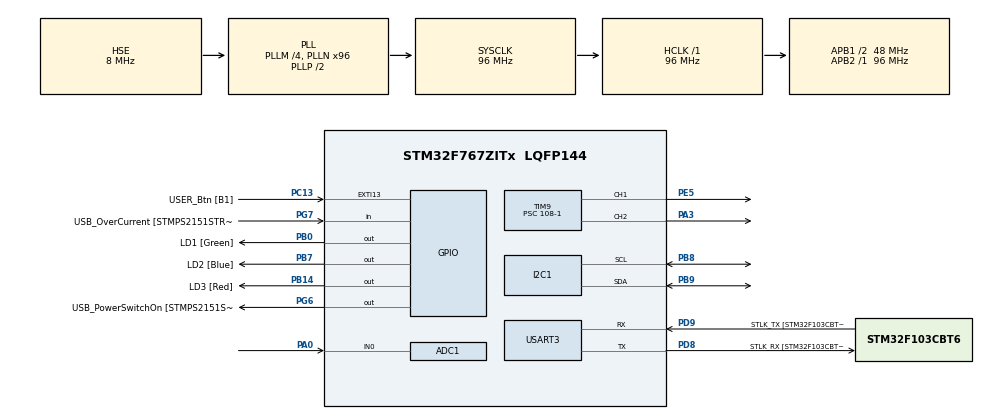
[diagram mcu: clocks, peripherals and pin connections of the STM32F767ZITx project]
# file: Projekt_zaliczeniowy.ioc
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ADC1.Channel-0\#ChannelRegularConversion=ADC_CHANNEL_0
ADC1.NbrOfConversionFlag=1
ADC1.Rank-0\#ChannelRegularConversion=1
ADC1.SamplingTime-0\#ChannelRegularConversion=ADC_SAMPLETIME_3CYCLES
ADC1.master=1
ARM.CMSIS.5.7.0.CMSISJjCORE=true
ARM.CMSIS.5.7.0.CMSISJjDSP=Library
I2C1.Timing=0x20303E5D
Mcu.Family=STM32F7
Mcu.Name=STM32F767ZITx
Mcu.Package=LQFP144
NVIC.PriorityGroup=NVIC_PRIORITYGROUP_4
NVIC.TIM1_TRG_COM_TIM11_IRQn=true\:0\:0\:false\:false\:true\:true\:true\:true
NVIC.TIM7_IRQn=true\:0\:0\:false\:false\:true\:true\:true\:true
PA0/WKUP.GPIO_PuPd=GPIO_NOPULL
PA0/WKUP.Signal=ADCx_IN0
PA1.GPIO_Label=RMII_REF_CLK [LAN8742A-CZ-TR_REFCLK0]
PA1.Signal=ETH_REF_CLK
PA10.GPIO_Label=USB_ID
PA10.Signal=USB_OTG_FS_ID
PA11.GPIO_Label=USB_DM
PA11.Signal=USB_OTG_FS_DM
PA12.GPIO_Label=USB_DP
PA12.Signal=USB_OTG_FS_DP
PA13.GPIO_Label=TMS
PA13.Mode=Serial_Wire
PA13.Signal=SYS_JTMS-SWDIO
PA14.GPIO_Label=TCK
PA14.Mode=Serial_Wire
PA14.Signal=SYS_JTCK-SWCLK
PA2.GPIO_Label=RMII_MDIO [LAN8742A-CZ-TR_MDIO]
PA2.Signal=ETH_MDIO
PA3.GPIO_PuPd=GPIO_PULLDOWN
PA3.Signal=S_TIM9_CH2
PA7.GPIO_Label=RMII_CRS_DV [LAN8742A-CZ-TR_CRS_DV]
PA7.Signal=ETH_CRS_DV
PA8.GPIO_Label=USB_SOF [TP1]
PA8.Signal=USB_OTG_FS_SOF
PA9.GPIO_Label=USB_VBUS
PA9.Signal=USB_OTG_FS_VBUS
PB0.GPIO_Label=LD1 [Green]
PB0.Signal=GPIO_Output
PB13.GPIO_Label=RMII_TXD1 [LAN8742A-CZ-TR_TXD1]
PB13.Signal=ETH_TXD1
PB14.GPIO_Label=LD3 [Red]
PB14.Signal=GPIO_Output
PB3.GPIO_Label=SWO
PB3.Signal=SYS_JTDO-SWO
PB7.GPIO_Label=LD2 [Blue]
PB7.Signal=GPIO_Output
PB8.Mode=I2C
PB8.Signal=I2C1_SCL
PB9.Mode=I2C
PB9.Signal=I2C1_SDA
PC1.GPIO_Label=RMII_MDC [LAN8742A-CZ-TR_MDC]
PC1.Signal=ETH_MDC
PC13.GPIO_Label=USER_Btn [B1]
PC13.Signal=GPXTI13
PC14/OSC32_IN.Mode=LSE-External-Oscillator
PC14/OSC32_IN.Signal=RCC_OSC32_IN
PC15/OSC32_OUT.Mode=LSE-External-Oscillator
PC15/OSC32_OUT.Signal=RCC_OSC32_OUT
PC4.GPIO_Label=RMII_RXD0 [LAN8742A-CZ-TR_RXD0]
PC4.Signal=ETH_RXD0
PC5.GPIO_Label=RMII_RXD1 [LAN8742A-CZ-TR_RXD1]
PC5.Signal=ETH_RXD1
PD8.GPIO_Label=STLK_RX [STM32F103CBT6_PA3]
PD8.GPIO_PuPd=GPIO_PULLUP
PD8.Mode=Asynchronous
PD8.Signal=USART3_TX
PD9.GPIO_Label=STLK_TX [STM32F103CBT6_PA2]
PD9.GPIO_PuPd=GPIO_PULLUP
PD9.Mode=Asynchronous
PD9.Signal=USART3_RX
PE5.GPIO_PuPd=GPIO_PULLDOWN
PE5.Signal=S_TIM9_CH1
PG11.GPIO_Label=RMII_TX_EN [LAN8742A-CZ-TR_TXEN]
PG11.Signal=ETH_TX_EN
PG13.GPIO_Label=RMII_TXD0 [LAN8742A-CZ-TR_TXD0]
PG13.Signal=ETH_TXD0
PG6.GPIO_Label=USB_PowerSwitchOn [STMPS2151STR_EN]
PG6.Signal=GPIO_Output
PG7.GPIO_Label=USB_OverCurrent [STMPS2151STR_FAULT]
PG7.Signal=GPIO_Input
PH0/OSC_IN.GPIO_Label=MCO [STM32F103CBT6_PA8]
PH0/OSC_IN.Mode=HSE-External-Clock-Source
PH0/OSC_IN.Signal=RCC_OSC_IN
PH1/OSC_OUT.Mode=HSE-External-Clock-Source
PH1/OSC_OUT.Signal=RCC_OSC_OUT
ProjectManager.HeapSize=0x200
ProjectManager.StackSize=0x400
ProjectManager.TargetToolchain=STM32CubeIDE
RCC.48MHZClocksFreq_Value=24000000
RCC.AHBFreq_Value=96000000
RCC.APB1CLKDivider=RCC_HCLK_DIV2
RCC.APB1Freq_Value=48000000
RCC.APB1TimFreq_Value=96000000
RCC.APB2Freq_Value=96000000
RCC.APB2TimFreq_Value=96000000
RCC.CortexFreq_Value=96000000
RCC.HCLKFreq_Value=96000000
RCC.HSE_VALUE=8000000
RCC.HSI_VALUE=16000000
RCC.PLLM=4
RCC.PLLMUL=RCC_PLL_MUL9
RCC.PLLN=96
RCC.PLLQ=4
RCC.PLLSourceVirtual=RCC_PLLSOURCE_HSE
RCC.PRESCALERUSB=RCC_USBCLKSOURCE_PLL_DIV1_5
RCC.SYSCLKFreq_VALUE=96000000
RCC.SYSCLKSource=RCC_SYSCLKSOURCE_PLLCLK
RCC.SYSCLKSourceVirtual=RCC_SYSCLKSOURCE_PLLCLK
RCC.USBFreq_Value=48000000
RCC.VCOOutputFreq_Value=192000000
SH.ADCx_IN0.0=ADC1_IN0,IN0
SH.S_TIM9_CH1.0=TIM9_CH1,PWM Generation1 CH1
SH.S_TIM9_CH2.0=TIM9_CH2,PWM Generation2 CH2
TIM11.Period=100-1
TIM11.Prescaler=108-1
TIM7.Period=5000-1
TIM7.Prescaler=108-1
TIM9.Channel-PWM\ Generation1\ CH1=TIM_CHANNEL_1
TIM9.Channel-PWM\ Generation2\ CH2=TIM_CHANNEL_2
TIM9.Period=1000-1
TIM9.Prescaler=108-1
USART3.VirtualMode-Asynchronous=VM_ASYNC
VP_ARM.CMSIS_VS_CMSISJjCORE_5.4.0_5.7.0.Mode=CMSISJjCORE
VP_ARM.CMSIS_VS_CMSISJjDSP_1.8.0_5.7.0.Mode=CMSISJjDSP
VP_TIM11_VS_ClockSourceINT.Mode=Enable_Timer
VP_TIM7_VS_ClockSourceINT.Mode=Enable_Timer
VP_TIM9_VS_ClockSourceINT.Mode=Internal
board=NUCLEO-F767ZI

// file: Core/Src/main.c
/* USER CODE BEGIN Header */
/**
  ******************************************************************************
  * @file           : main.c
  * @brief          : Scalona wersja - Regulator Pozycyjny + Zakłócenie ADC
  ******************************************************************************
  */
/* USER CODE END Header */

#include "main.h"
#include "adc.h"
#include "i2c.h"
#include "tim.h"
#include "usart.h"
#include "gpio.h"

/* USER CODE BEGIN Includes */
#include <stdio.h>
#include <stdlib.h>
#include <string.h>
#include "led_config.h"
#include "bh1750_config.h"
#include "pid_config.h"
/* USER CODE END Includes */

/* USER CODE BEGIN PV */
// --- Zmienne regulacji (LED1 - TIM9 CH2) ---
float target_lux = 0.0f;
float current_lux = 0.0f;
float pid_pwm_out = 0.0f;     // Bezpośrednie wyjście z regulatora PID (pozycyjne)

// --- Zmienne zakłócenia (LED2 - TIM9 CH1) ---
extern ADC_HandleTypeDef hadc1;
extern LED_PWM_Handle_TypeDef hld2;
uint32_t adc_raw_val = 0;
float disturbance_pwm = 0.0f;

// --- Flagi i bufory ---
volatile uint8_t pid_trigger = 0;
char rx_buffer[32];
int rx_index = 0;
/* USER CODE END PV */

void SystemClock_Config(void);
/* USER CODE BEGIN PFP */
uint8_t Compute_CRC8(char* data, int len);
/* USER CODE END PFP */

/* USER CODE BEGIN 0 */
int _write(int file, char *ptr, int len)
{
  return (HAL_UART_Transmit(&huart3, (uint8_t*)ptr, len, HAL_MAX_DELAY) == HAL_OK) ? len : -1;
}

int _read(int file, char *ptr, int len)
{
  uint8_t ch = 0;
  if (HAL_UART_Receive(&huart3, &ch, 1, HAL_MAX_DELAY) == HAL_OK)
  {
    // Echo wyłączone dla czystości komunikacji z Matlabem
    if (ch == '\r') ch = '\n';
    *ptr = ch;
    return 1;
  }
  return -1;
}
/* USER CODE END 0 */

int main(void)
{
  /* MCU Configuration --------------------------------------------------------*/
  HAL_Init();
  SystemClock_Config();

  /* Initialize all configured peripherals */
  MX_GPIO_Init();
  MX_USART3_UART_Init();
  MX_TIM7_Init();
  MX_TIM9_Init();
  MX_TIM11_Init();
  MX_I2C1_Init();
  MX_ADC1_Init();

  /* USER CODE BEGIN 2 */
  BH1750_Init(&hbh1750A);

  LED_PWM_Init(&hld1);
  LED_PWM_WriteDuty(&hld1, 0.0f);

  LED_PWM_Init(&hld2);
  LED_PWM_WriteDuty(&hld2, 0.0f);

  PID_Config_Init();

  // Konfiguracja timera na 150ms
  __HAL_TIM_SET_PRESCALER(&htim7, 9599);
  __HAL_TIM_SET_AUTORELOAD(&htim7, 1499);
  __HAL_TIM_SET_COUNTER(&htim7, 0);
  HAL_TIM_Base_Start_IT(&htim7);

  memset(rx_buffer, 0, sizeof(rx_buffer));
  rx_index = 0;
  /* USER CODE END 2 */

  /* USER CODE BEGIN WHILE */
  uint8_t rx_byte = 0;

  while (1)
  {
      // ---OBSŁUGA KOMEND UART ---
      if (HAL_UART_Receive(&huart3, &rx_byte, 1, 0) == HAL_OK)
      {
          if (rx_byte == '\r' || rx_byte == '\n')
          {
              if (rx_index > 0)
              {
                  rx_buffer[rx_index] = 0;
                  float val = 0.0f;
                  int valid = 0;

                  if (rx_buffer[0] == 's' || rx_buffer[0] == 'S') {
                      val = (float)atof(&rx_buffer[1]);
                      valid = 1;
                  } else if (rx_buffer[0] >= '0' && rx_buffer[0] <= '9') {
                      val = (float)atof(rx_buffer);
                      valid = 1;
                  }

                  if (valid) {
                      if (val < 0) val = 0;
                      target_lux = val;
                  }
                  rx_index = 0;
              }
          }
          else if (rx_byte == 8 || rx_byte == 127)
          {
              if (rx_index > 0) rx_index--;
          }
          else if (rx_index < 30)
          {
              rx_buffer[rx_index++] = rx_byte;
          }
      }

      // OBSŁUGA ZAKŁÓCENIA (Płynna reakcja na ADC) ---
      HAL_ADC_Start(&hadc1);
      if (HAL_ADC_PollForConversion(&hadc1, 10) == HAL_OK)
      {
          adc_raw_val = HAL_ADC_GetValue(&hadc1);
          disturbance_pwm = ((float)adc_raw_val / 4095.0f) * 100.0f;
          if(disturbance_pwm > 100.0f) disturbance_pwm = 100.0f;
          LED_PWM_WriteDuty(&hld2, disturbance_pwm);
      }
      HAL_ADC_Stop(&hadc1);

      // --- PĘTLA REGULACJI PID (Wyzwalana co 150ms) ---
      if (pid_trigger == 1)
      {
          pid_trigger = 0;

          // Pomiar
          current_lux = BH1750_ReadIlluminance_lux(&hbh1750A);

          // Obliczenie PID (Metoda Pozycyjna)
          float error = target_lux - current_lux;
          pid_pwm_out = arm_pid_f32(&PID1, error);

          // Saturacja (Ograniczenie wyjścia 0-100%)
          if (pid_pwm_out > 100.0f) pid_pwm_out = 100.0f;
          if (pid_pwm_out < 0.0f) pid_pwm_out = 0.0f;

          // Wysterowanie LED 1
          LED_PWM_WriteDuty(&hld1, pid_pwm_out);

          // Diagnostyka MATLAB (Format: Ref, Meas, PWM)
          char msg_buffer[128];
          int msg_len = sprintf(msg_buffer, "Ref:%.2f, Meas:%.2f, PWM:%.2f",
                                target_lux, current_lux, pid_pwm_out);

          uint8_t crc_val = Compute_CRC8(msg_buffer, msg_len);
          printf("%s*%02X\r\n", msg_buffer, crc_val);
      }
  }
}

/* USER CODE BEGIN 4 */
void HAL_TIM_PeriodElapsedCallback(TIM_HandleTypeDef *htim)
{
    if (htim->Instance == TIM7)
    {
        pid_trigger = 1;
    }
}

uint8_t Compute_CRC8(char* data, int len) {
    uint8_t crc = 0xFF;
    for (int i = 0; i < len; i++) {
        crc ^= (uint8_t)data[i];
        for (int j = 0; j < 8; j++) {
            if (crc & 0x80) crc = (crc << 1) ^ 0x07;
            else crc <<= 1;
        }
    }
    return crc;
}
/* USER CODE END 4 */

void SystemClock_Config(void)
{
  RCC_OscInitTypeDef RCC_OscInitStruct = {0};
  RCC_ClkInitTypeDef RCC_ClkInitStruct = {0};

  HAL_PWR_EnableBkUpAccess();
  __HAL_RCC_PWR_CLK_ENABLE();
  __HAL_PWR_VOLTAGESCALING_CONFIG(PWR_REGULATOR_VOLTAGE_SCALE3);

  RCC_OscInitStruct.OscillatorType = RCC_OSCILLATORTYPE_HSE;
  RCC_OscInitStruct.HSEState = RCC_HSE_BYPASS;
  RCC_OscInitStruct.PLL.PLLState = RCC_PLL_ON;
  RCC_OscInitStruct.PLL.PLLSource = RCC_PLLSOURCE_HSE;
  RCC_OscInitStruct.PLL.PLLM = 4;
  RCC_OscInitStruct.PLL.PLLN = 96;
  RCC_OscInitStruct.PLL.PLLP = RCC_PLLP_DIV2;
  RCC_OscInitStruct.PLL.PLLQ = 4;
  RCC_OscInitStruct.PLL.PLLR = 2;
  HAL_RCC_OscConfig(&RCC_OscInitStruct);

  HAL_PWREx_EnableOverDrive();

  RCC_ClkInitStruct.ClockType = RCC_CLOCKTYPE_HCLK|RCC_CLOCKTYPE_SYSCLK|RCC_CLOCKTYPE_PCLK1|RCC_CLOCKTYPE_PCLK2;
  RCC_ClkInitStruct.SYSCLKSource = RCC_SYSCLKSOURCE_PLLCLK;
  RCC_ClkInitStruct.AHBCLKDivider = RCC_SYSCLK_DIV1;
  RCC_ClkInitStruct.APB1CLKDivider = RCC_HCLK_DIV2;
  RCC_ClkInitStruct.APB2CLKDivider = RCC_HCLK_DIV1;
  HAL_RCC_ClockConfig(&RCC_ClkInitStruct, FLASH_LATENCY_3);
}

void Error_Handler(void)
{
  __disable_irq();
  while (1) {}
}
